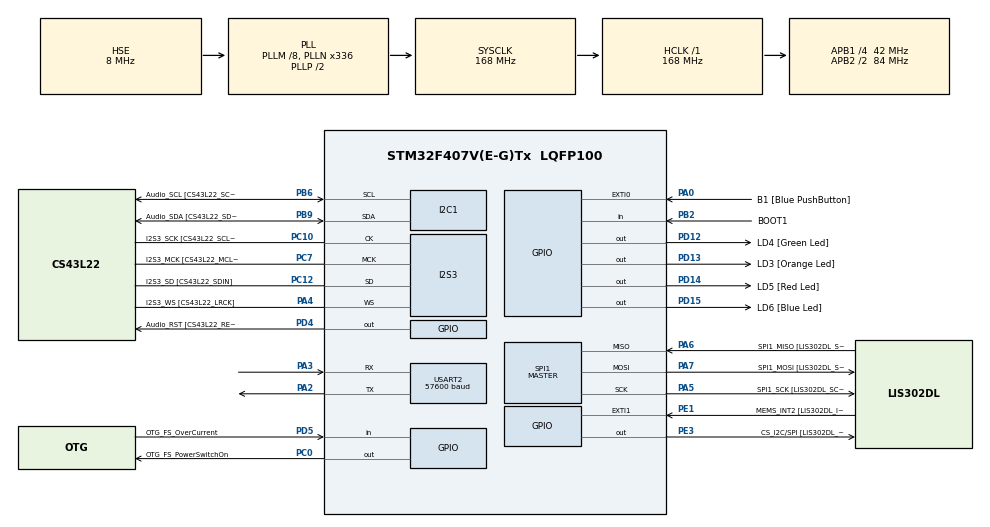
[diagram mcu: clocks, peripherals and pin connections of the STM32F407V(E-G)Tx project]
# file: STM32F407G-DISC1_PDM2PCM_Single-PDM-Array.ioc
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I2S3.AudioFreq-Half_Duplex_Master=I2S_AUDIOFREQ_96K
I2S3.ErrorAudioFreq=-2.34 %
I2S3.ErrorAudioFreq-Half_Duplex_Master=0.8 %
I2S3.FullDuplexMode=I2S_FULLDUPLEXMODE_DISABLE
I2S3.Instance=SPI$Index
I2S3.RealAudioFreq=93.75 KHz
I2S3.RealAudioFreq-Half_Duplex_Master=96.774 KHz
I2S3.VirtualMode=I2S_MODE_MASTER
Mcu.Family=STM32F4
Mcu.Name=STM32F407V(E-G)Tx
Mcu.Package=LQFP100
NVIC.PriorityGroup=NVIC_PRIORITYGROUP_0
PA0-WKUP.GPIO_Label=B1 [Blue PushButton]
PA0-WKUP.GPIO_ModeDefaultEXTI=GPIO_MODE_EVT_RISING
PA0-WKUP.GPIO_PuPd=GPIO_NOPULL
PA0-WKUP.Signal=GPXTI0
PA10.GPIO_Label=OTG_FS_ID
PA10.GPIO_Mode=GPIO_MODE_AF_PP
PA10.GPIO_PuPd=GPIO_NOPULL
PA10.GPIO_Speed=GPIO_SPEED_FREQ_LOW
PA10.Signal=USB_OTG_FS_ID
PA11.GPIO_Label=OTG_FS_DM
PA11.GPIO_Mode=GPIO_MODE_AF_PP
PA11.GPIO_PuPd=GPIO_NOPULL
PA11.GPIO_Speed=GPIO_SPEED_FREQ_LOW
PA11.Signal=USB_OTG_FS_DM
PA12.GPIO_Label=OTG_FS_DP
PA12.GPIO_Mode=GPIO_MODE_AF_PP
PA12.GPIO_PuPd=GPIO_NOPULL
PA12.GPIO_Speed=GPIO_SPEED_FREQ_LOW
PA12.Signal=USB_OTG_FS_DP
PA13.GPIO_Label=SWDIO
PA13.Mode=Serial_Wire
PA13.Signal=SYS_JTMS-SWDIO
PA14.GPIO_Label=SWCLK
PA14.Mode=Serial_Wire
PA14.Signal=SYS_JTCK-SWCLK
PA2.Mode=Asynchronous
PA2.Signal=USART2_TX
PA3.Mode=Asynchronous
PA3.Signal=USART2_RX
PA4.GPIO_Label=I2S3_WS [CS43L22_LRCK]
PA4.GPIO_Mode=GPIO_MODE_AF_PP
PA4.GPIO_PuPd=GPIO_NOPULL
PA4.GPIO_Speed=GPIO_SPEED_FREQ_LOW
PA4.Mode=Half_Duplex_Master
PA4.Signal=I2S3_WS
PA5.GPIO_Label=SPI1_SCK [LIS302DL_SCL/SPC]
PA5.GPIO_Mode=GPIO_MODE_AF_PP
PA5.GPIO_PuPd=GPIO_NOPULL
PA5.GPIO_Speed=GPIO_SPEED_FREQ_LOW
PA5.Mode=Full_Duplex_Master
PA5.Signal=SPI1_SCK
PA6.GPIO_Label=SPI1_MISO [LIS302DL_SDO]
PA6.GPIO_Mode=GPIO_MODE_AF_PP
PA6.GPIO_PuPd=GPIO_NOPULL
PA6.GPIO_Speed=GPIO_SPEED_FREQ_LOW
PA6.Mode=Full_Duplex_Master
PA6.Signal=SPI1_MISO
PA7.GPIO_Label=SPI1_MOSI [LIS302DL_SDA/SDI/SDO]
PA7.GPIO_Mode=GPIO_MODE_AF_PP
PA7.GPIO_PuPd=GPIO_NOPULL
PA7.GPIO_Speed=GPIO_SPEED_FREQ_LOW
PA7.Mode=Full_Duplex_Master
PA7.Signal=SPI1_MOSI
PA9.GPIO_Label=VBUS_FS
PA9.GPIO_Mode=GPIO_MODE_INPUT
PA9.GPIO_PuPd=GPIO_NOPULL
PA9.Signal=USB_OTG_FS_VBUS
PB10.GPIO_Label=CLK_IN [MP45DT02_CLK]
PB10.GPIO_Mode=GPIO_MODE_AF_PP
PB10.GPIO_PuPd=GPIO_NOPULL
PB10.GPIO_Speed=GPIO_SPEED_FREQ_LOW
PB10.Signal=I2S2_CK
PB2.GPIO_Label=BOOT1
PB2.GPIO_Mode=GPIO_MODE_INPUT
PB2.GPIO_PuPd=GPIO_NOPULL
PB2.Signal=GPIO_Input
PB3.GPIO_Label=SWO
PB3.Signal=SYS_JTDO-SWO
PB6.GPIO_Label=Audio_SCL [CS43L22_SCL]
PB6.GPIO_Mode=GPIO_MODE_AF_OD
PB6.GPIO_Pu=GPIO_PULLUP
PB6.GPIO_PuPd=GPIO_NOPULL
PB6.GPIO_Speed=GPIO_SPEED_FREQ_LOW
PB6.Mode=I2C
PB6.Signal=I2C1_SCL
PB9.GPIO_Label=Audio_SDA [CS43L22_SDA]
PB9.GPIO_Mode=GPIO_MODE_AF_OD
PB9.GPIO_Pu=GPIO_PULLUP
PB9.GPIO_PuPd=GPIO_NOPULL
PB9.GPIO_Speed=GPIO_SPEED_FREQ_LOW
PB9.Mode=I2C
PB9.Signal=I2C1_SDA
PC0.GPIO_Label=OTG_FS_PowerSwitchOn
PC0.GPIO_PuPd=GPIO_NOPULL
PC0.GPIO_Speed=GPIO_SPEED_FREQ_LOW
PC0.PinState=GPIO_PIN_SET
PC0.Signal=GPIO_Output
PC10.GPIO_Label=I2S3_SCK [CS43L22_SCLK]
PC10.GPIO_Mode=GPIO_MODE_AF_PP
PC10.GPIO_PuPd=GPIO_NOPULL
PC10.GPIO_Speed=GPIO_SPEED_FREQ_LOW
PC10.Mode=Half_Duplex_Master
PC10.Signal=I2S3_CK
PC12.GPIO_Label=I2S3_SD [CS43L22_SDIN]
PC12.GPIO_Mode=GPIO_MODE_AF_PP
PC12.GPIO_PuPd=GPIO_NOPULL
PC12.GPIO_Speed=GPIO_SPEED_FREQ_LOW
PC12.Mode=Half_Duplex_Master
PC12.Signal=I2S3_SD
PC3.GPIO_Label=PDM_OUT [MP45DT02_DOUT]
PC3.GPIO_Mode=GPIO_MODE_AF_PP
PC3.GPIO_PuPd=GPIO_NOPULL
PC3.GPIO_Speed=GPIO_SPEED_FREQ_LOW
PC3.Signal=I2S2_SD
PC7.GPIO_Label=I2S3_MCK [CS43L22_MCLK]
PC7.GPIO_Mode=GPIO_MODE_AF_PP
PC7.GPIO_PuPd=GPIO_NOPULL
PC7.GPIO_Speed=GPIO_SPEED_FREQ_LOW
PC7.Mode=Master_Clock_Activated
PC7.Signal=I2S3_MCK
PD12.GPIO_Label=LD4 [Green Led]
PD12.GPIO_PuPd=GPIO_NOPULL
PD12.GPIO_Speed=GPIO_SPEED_FREQ_LOW
PD12.Signal=GPIO_Output
PD13.GPIO_Label=LD3 [Orange Led]
PD13.GPIO_PuPd=GPIO_NOPULL
PD13.GPIO_Speed=GPIO_SPEED_FREQ_LOW
PD13.Signal=GPIO_Output
PD14.GPIO_Label=LD5 [Red Led]
PD14.GPIO_PuPd=GPIO_NOPULL
PD14.GPIO_Speed=GPIO_SPEED_FREQ_LOW
PD14.Signal=GPIO_Output
PD15.GPIO_Label=LD6 [Blue Led]
PD15.GPIO_PuPd=GPIO_NOPULL
PD15.GPIO_Speed=GPIO_SPEED_FREQ_LOW
PD15.Signal=GPIO_Output
PD4.GPIO_Label=Audio_RST [CS43L22_RESET]
PD4.GPIO_PuPd=GPIO_NOPULL
PD4.GPIO_Speed=GPIO_SPEED_FREQ_LOW
PD4.Signal=GPIO_Output
PD5.GPIO_Label=OTG_FS_OverCurrent
PD5.GPIO_Mode=GPIO_MODE_INPUT
PD5.GPIO_PuPd=GPIO_NOPULL
PD5.Signal=GPIO_Input
PDM2PCM.CHANNEL1_in_ptr_channels=1
PDM2PCM.CHANNEL1_out_ptr_channels=1
PDM2PCM.CHANNEL1_output_samples_number=500
PE1.GPIO_Label=MEMS_INT2 [LIS302DL_INT2]
PE1.GPIO_ModeDefaultEXTI=GPIO_MODE_EVT_RISING
PE1.GPIO_PuPd=GPIO_NOPULL
PE1.Signal=GPXTI1
PE3.GPIO_Label=CS_I2C/SPI [LIS302DL_CS_I2C/SPI]
PE3.GPIO_PuPd=GPIO_NOPULL
PE3.GPIO_Speed=GPIO_SPEED_FREQ_LOW
PE3.Signal=GPIO_Output
PH0-OSC_IN.GPIO_Label=PH0-OSC_IN
PH0-OSC_IN.Mode=HSE-External-Oscillator
PH0-OSC_IN.Signal=RCC_OSC_IN
PH1-OSC_OUT.GPIO_Label=PH1-OSC_OUT
PH1-OSC_OUT.Mode=HSE-External-Oscillator
PH1-OSC_OUT.Signal=RCC_OSC_OUT
ProjectManager.HeapSize=0x200
ProjectManager.StackSize=0x400
ProjectManager.TargetToolchain=STM32CubeIDE
RCC.48MHZClocksFreq_Value=48000000
RCC.AHBFreq_Value=168000000
RCC.APB1CLKDivider=RCC_HCLK_DIV4
RCC.APB1Freq_Value=42000000
RCC.APB1TimFreq_Value=84000000
RCC.APB2CLKDivider=RCC_HCLK_DIV2
RCC.APB2Freq_Value=84000000
RCC.APB2TimFreq_Value=168000000
RCC.CortexFreq_Value=168000000
RCC.HCLKFreq_Value=168000000
RCC.HSE_VALUE=8000000
RCC.HSI_VALUE=16000000
RCC.LSE_VALUE=32768
RCC.PLLM=8
RCC.PLLN=336
RCC.PLLQ=7
RCC.PLLSourceVirtual=RCC_PLLSOURCE_HSE
RCC.SYSCLKFreq_VALUE=168000000
RCC.SYSCLKSource=RCC_SYSCLKSOURCE_PLLCLK
RCC.VCOOutputFreq_Value=336000000
SPI1.BaudRatePrescaler-Full_Duplex_Master=SPI_BAUDRATEPRESCALER_2
SPI1.CalculateBaudRate-Full_Duplex_Master=42.0 MBits/s
SPI1.Direction=SPI_DIRECTION_2LINES
SPI1.Mode=SPI_MODE_MASTER
SPI1.Mode-Full_Duplex_Master=SPI_MODE_MASTER
SPI1.VirtualType=VM_MASTER
USART2.BaudRate=57600
USART2.VirtualMode=VM_ASYNC
VP_CRC_VS_CRC.Mode=CRC_Activate
VP_PDM2PCM_VS_PDM2PCM.Mode=PDM2PCM_Channel
board=STM32F407G-DISC1

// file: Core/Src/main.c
/* USER CODE BEGIN Header */
/**
 ******************************************************************************
 * @file           : main.c
 * @brief          : Main program body
 ******************************************************************************
 * @attention
 *
 * <h2><center>&copy; Copyright (c) 2021 STMicroelectronics.
 * All rights reserved.</center></h2>
 *
 * This software component is licensed by ST under Ultimate Liberty license
 * SLA0044, the "License"; You may not use this file except in compliance with
 * the License. You may obtain a copy of the License at:
 *                             www.st.com/SLA0044
 *
 ******************************************************************************
 */
/* USER CODE END Header */
#include "main.h"
#include "pdm2pcm.h"

/* USER CODE BEGIN Includes */

#include <stdio.h>
#include "pdm_tones.h"

/* USER CODE END Includes */

 CRC_HandleTypeDef hcrc;

I2C_HandleTypeDef hi2c1;

I2S_HandleTypeDef hi2s3;

SPI_HandleTypeDef hspi1;

UART_HandleTypeDef huart2;

/* USER CODE BEGIN PV */

int16_t PCM_outBuffer[1000];

/* USER CODE END PV */

void SystemClock_Config(void);
static void MX_GPIO_Init(void);
static void MX_I2C1_Init(void);
static void MX_I2S3_Init(void);
static void MX_SPI1_Init(void);
static void MX_USART2_UART_Init(void);
static void MX_CRC_Init(void);
/* USER CODE BEGIN PFP */

#define PUTCHAR_PROTOTYPE int __io_putchar(int ch)

/* USER CODE END PFP */

int main(void)
{

  /* MCU Configuration--------------------------------------------------------*/

  /* Reset of all peripherals, Initializes the Flash interface and the Systick. */
  HAL_Init();

  /* Configure the system clock */
  SystemClock_Config();

  /* Initialize all configured peripherals */
  MX_GPIO_Init();
  MX_I2C1_Init();
  MX_I2S3_Init();
  MX_SPI1_Init();
  MX_USART2_UART_Init();
  MX_CRC_Init();
  MX_PDM2PCM_Init();
  /* USER CODE BEGIN 2 */

	printf("Starting >> STM32F407G-DISC1_PDM2PCM_Single-PDM-Array  \n");

	// first bit to MSB - 8bit tone "AA"
	for(uint16_t i = 0; i < sizeof(tone500HzA4_pdmdata) * 4; i++)
	{
		pdmBuffer8_8000bits_1000bytes_1[i >> 3] = 0x55;
		//		printf("i = %d,  i >>3 = %d, i mod sizeof(tone500HzA4_pdmdata) = %d \n",i, i >>3, i % sizeof(tone500HzA4_pdmdata));
	}

	// first bit to MSB - 8bit tone500Hz_pdmdata
	for(uint16_t i = 0; i < sizeof(tone500Hz_pdmdata) * 4; i++)
	{
		pdmBuffer8_8000bits_1000bytes_2[i >> 3] = (pdmBuffer8_8000bits_1000bytes_2[i >> 3] << 1) + tone500Hz_pdmdata[i % sizeof(tone500Hz_pdmdata)];
		//		printf("i = %d,  i >>3 = %d, i mod sizeof(tone500Hz_pdmdata) = %d \n",i, i >>3, i % sizeof(tone500Hz_pdmdata));
	}

	// first bit to MSB - 8bit tone500HzA4_pdmdata
	for(uint16_t i = 0; i < sizeof(tone500HzA4_pdmdata) * 4; i++)
	{
		pdmBuffer8_8000bits_1000bytes_3[i >> 3] = (pdmBuffer8_8000bits_1000bytes_3[i >> 3] << 1) + tone500HzA4_pdmdata[i % sizeof(tone500HzA4_pdmdata)];
		//		printf("i = %d,  i >>3 = %d, i mod sizeof(tone500HzA4_pdmdata) = %d \n",i, i >>3, i % sizeof(tone500HzA4_pdmdata));
	}

	for(uint16_t i = 0; i < 1000; i++)
	{
		pdmBuffer8_8000bits_4000bytes[i] = pdmBuffer8_8000bits_1000bytes_1[i];
	}

	for(uint16_t i = 0; i < 1000; i++)
	{
		pdmBuffer8_8000bits_4000bytes[i + 1000] = pdmBuffer8_8000bits_1000bytes_2[i];
	}

	for(uint16_t i = 0; i < 1000; i++)
	{
		pdmBuffer8_8000bits_4000bytes[i + 2000] = pdmBuffer8_8000bits_1000bytes_1[i];
	}

	for(uint16_t i = 0; i < 1000; i++)
	{
		pdmBuffer8_8000bits_4000bytes[i + 3000] = pdmBuffer8_8000bits_1000bytes_3[i];
	}

	//	printf("pdmBuffer8_8000bits_1000bytes_2 first bit to MSB\n");
	//	for (uint16_t Index = 0; Index < sizeof(pdmBuffer8_8000bits_1000bytes_2); Index++)
	//	{
	//		printf("%d %d\n",Index, pdmBuffer8_8000bits_1000bytes_2[Index]);
	//	}

	// single 500 PCM data of results ; 4000 bytes x 8bit/byte / 64 decimation = 32k bits / 64 decimation = 500 PCM data
	GPIOD->BSRR = (1<<15); // Set
	PDM_Filter(&pdmBuffer8_8000bits_4000bytes[0],&PCM_outBuffer[0], &PDM1_filter_handler);
	GPIOD->BSRR  = (1<< (15 + 16) ); // Reset

	//	PDM_Filter(&pdmBuffer8_8000bits_1000bytes_3[0],&PCM_outBuffer[0], &PDM1_filter_handler);

	printf("PCM_outBuffer \n");
	for (uint16_t Index = 0; Index < 500; Index++)
	{
		printf("%d %d\n",Index, PCM_outBuffer[Index]);
	}

	printf("Ending   >> STM32F407G-DISC1_PDM2PCM_Single-PDM-Array  \n");

  /* USER CODE END 2 */

  /* Infinite loop */
  /* USER CODE BEGIN WHILE */
	while (1)
	{
		HAL_GPIO_TogglePin(GPIOD, GPIO_PIN_12);
		//	  HAL_GPIO_TogglePin(GPIOD, GPIO_PIN_13);
		//	  HAL_GPIO_TogglePin(GPIOD, GPIO_PIN_14);
		//	  HAL_GPIO_TogglePin(GPIOD, GPIO_PIN_15);
		HAL_Delay(100);
    /* USER CODE END WHILE */

	}
}

void SystemClock_Config(void)
{
  RCC_OscInitTypeDef RCC_OscInitStruct = {0};
  RCC_ClkInitTypeDef RCC_ClkInitStruct = {0};

  /** Configure the main internal regulator output voltage
  */
  __HAL_RCC_PWR_CLK_ENABLE();
  __HAL_PWR_VOLTAGESCALING_CONFIG(PWR_REGULATOR_VOLTAGE_SCALE1);

  /** Initializes the RCC Oscillators according to the specified parameters
  * in the RCC_OscInitTypeDef structure.
  */
  RCC_OscInitStruct.OscillatorType = RCC_OSCILLATORTYPE_HSE;
  RCC_OscInitStruct.HSEState = RCC_HSE_ON;
  RCC_OscInitStruct.PLL.PLLState = RCC_PLL_ON;
  RCC_OscInitStruct.PLL.PLLSource = RCC_PLLSOURCE_HSE;
  RCC_OscInitStruct.PLL.PLLM = 8;
  RCC_OscInitStruct.PLL.PLLN = 336;
  RCC_OscInitStruct.PLL.PLLP = RCC_PLLP_DIV2;
  RCC_OscInitStruct.PLL.PLLQ = 7;
  if (HAL_RCC_OscConfig(&RCC_OscInitStruct) != HAL_OK)
  {
    Error_Handler();
  }

  /** Initializes the CPU, AHB and APB buses clocks
  */
  RCC_ClkInitStruct.ClockType = RCC_CLOCKTYPE_HCLK|RCC_CLOCKTYPE_SYSCLK
                              |RCC_CLOCKTYPE_PCLK1|RCC_CLOCKTYPE_PCLK2;
  RCC_ClkInitStruct.SYSCLKSource = RCC_SYSCLKSOURCE_PLLCLK;
  RCC_ClkInitStruct.AHBCLKDivider = RCC_SYSCLK_DIV1;
  RCC_ClkInitStruct.APB1CLKDivider = RCC_HCLK_DIV4;
  RCC_ClkInitStruct.APB2CLKDivider = RCC_HCLK_DIV2;

  if (HAL_RCC_ClockConfig(&RCC_ClkInitStruct, FLASH_LATENCY_5) != HAL_OK)
  {
    Error_Handler();
  }
}

static void MX_CRC_Init(void)
{

  hcrc.Instance = CRC;
  if (HAL_CRC_Init(&hcrc) != HAL_OK)
  {
    Error_Handler();
  }
  __HAL_CRC_DR_RESET(&hcrc);

}

static void MX_I2C1_Init(void)
{

  hi2c1.Instance = I2C1;
  hi2c1.Init.ClockSpeed = 100000;
  hi2c1.Init.DutyCycle = I2C_DUTYCYCLE_2;
  hi2c1.Init.OwnAddress1 = 0;
  hi2c1.Init.AddressingMode = I2C_ADDRESSINGMODE_7BIT;
  hi2c1.Init.DualAddressMode = I2C_DUALADDRESS_DISABLE;
  hi2c1.Init.OwnAddress2 = 0;
  hi2c1.Init.GeneralCallMode = I2C_GENERALCALL_DISABLE;
  hi2c1.Init.NoStretchMode = I2C_NOSTRETCH_DISABLE;
  if (HAL_I2C_Init(&hi2c1) != HAL_OK)
  {
    Error_Handler();
  }

}

static void MX_I2S3_Init(void)
{

  hi2s3.Instance = SPI3;
  hi2s3.Init.Mode = I2S_MODE_MASTER_TX;
  hi2s3.Init.Standard = I2S_STANDARD_PHILIPS;
  hi2s3.Init.DataFormat = I2S_DATAFORMAT_16B;
  hi2s3.Init.MCLKOutput = I2S_MCLKOUTPUT_ENABLE;
  hi2s3.Init.AudioFreq = I2S_AUDIOFREQ_96K;
  hi2s3.Init.CPOL = I2S_CPOL_LOW;
  hi2s3.Init.ClockSource = I2S_CLOCK_PLL;
  hi2s3.Init.FullDuplexMode = I2S_FULLDUPLEXMODE_DISABLE;
  if (HAL_I2S_Init(&hi2s3) != HAL_OK)
  {
    Error_Handler();
  }

}

static void MX_SPI1_Init(void)
{

  /* SPI1 parameter configuration*/
  hspi1.Instance = SPI1;
  hspi1.Init.Mode = SPI_MODE_MASTER;
  hspi1.Init.Direction = SPI_DIRECTION_2LINES;
  hspi1.Init.DataSize = SPI_DATASIZE_8BIT;
  hspi1.Init.CLKPolarity = SPI_POLARITY_LOW;
  hspi1.Init.CLKPhase = SPI_PHASE_1EDGE;
  hspi1.Init.NSS = SPI_NSS_SOFT;
  hspi1.Init.BaudRatePrescaler = SPI_BAUDRATEPRESCALER_2;
  hspi1.Init.FirstBit = SPI_FIRSTBIT_MSB;
  hspi1.Init.TIMode = SPI_TIMODE_DISABLE;
  hspi1.Init.CRCCalculation = SPI_CRCCALCULATION_DISABLE;
  hspi1.Init.CRCPolynomial = 10;
  if (HAL_SPI_Init(&hspi1) != HAL_OK)
  {
    Error_Handler();
  }

}

static void MX_USART2_UART_Init(void)
{

  huart2.Instance = USART2;
  huart2.Init.BaudRate = 57600;
  huart2.Init.WordLength = UART_WORDLENGTH_8B;
  huart2.Init.StopBits = UART_STOPBITS_1;
  huart2.Init.Parity = UART_PARITY_NONE;
  huart2.Init.Mode = UART_MODE_TX_RX;
  huart2.Init.HwFlowCtl = UART_HWCONTROL_NONE;
  huart2.Init.OverSampling = UART_OVERSAMPLING_16;
  if (HAL_UART_Init(&huart2) != HAL_OK)
  {
    Error_Handler();
  }

}

static void MX_GPIO_Init(void)
{
  GPIO_InitTypeDef GPIO_InitStruct = {0};

  /* GPIO Ports Clock Enable */
  __HAL_RCC_GPIOE_CLK_ENABLE();
  __HAL_RCC_GPIOH_CLK_ENABLE();
  __HAL_RCC_GPIOC_CLK_ENABLE();
  __HAL_RCC_GPIOA_CLK_ENABLE();
  __HAL_RCC_GPIOB_CLK_ENABLE();
  __HAL_RCC_GPIOD_CLK_ENABLE();

  /*Configure GPIO pin Output Level */
  HAL_GPIO_WritePin(CS_I2C_SPI_GPIO_Port, CS_I2C_SPI_Pin, GPIO_PIN_RESET);

  /*Configure GPIO pin Output Level */
  HAL_GPIO_WritePin(OTG_FS_PowerSwitchOn_GPIO_Port, OTG_FS_PowerSwitchOn_Pin, GPIO_PIN_SET);

  /*Configure GPIO pin Output Level */
  HAL_GPIO_WritePin(GPIOD, LD4_Pin|LD3_Pin|LD5_Pin|LD6_Pin
                          |Audio_RST_Pin, GPIO_PIN_RESET);

  /*Configure GPIO pin : CS_I2C_SPI_Pin */
  GPIO_InitStruct.Pin = CS_I2C_SPI_Pin;
  GPIO_InitStruct.Mode = GPIO_MODE_OUTPUT_PP;
  GPIO_InitStruct.Pull = GPIO_NOPULL;
  GPIO_InitStruct.Speed = GPIO_SPEED_FREQ_LOW;
  HAL_GPIO_Init(CS_I2C_SPI_GPIO_Port, &GPIO_InitStruct);

  /*Configure GPIO pin : OTG_FS_PowerSwitchOn_Pin */
  GPIO_InitStruct.Pin = OTG_FS_PowerSwitchOn_Pin;
  GPIO_InitStruct.Mode = GPIO_MODE_OUTPUT_PP;
  GPIO_InitStruct.Pull = GPIO_NOPULL;
  GPIO_InitStruct.Speed = GPIO_SPEED_FREQ_LOW;
  HAL_GPIO_Init(OTG_FS_PowerSwitchOn_GPIO_Port, &GPIO_InitStruct);

  /*Configure GPIO pin : PDM_OUT_Pin */
  GPIO_InitStruct.Pin = PDM_OUT_Pin;
  GPIO_InitStruct.Mode = GPIO_MODE_AF_PP;
  GPIO_InitStruct.Pull = GPIO_NOPULL;
  GPIO_InitStruct.Speed = GPIO_SPEED_FREQ_LOW;
  GPIO_InitStruct.Alternate = GPIO_AF5_SPI2;
  HAL_GPIO_Init(PDM_OUT_GPIO_Port, &GPIO_InitStruct);

  /*Configure GPIO pin : B1_Pin */
  GPIO_InitStruct.Pin = B1_Pin;
  GPIO_InitStruct.Mode = GPIO_MODE_EVT_RISING;
  GPIO_InitStruct.Pull = GPIO_NOPULL;
  HAL_GPIO_Init(B1_GPIO_Port, &GPIO_InitStruct);

  /*Configure GPIO pin : BOOT1_Pin */
  GPIO_InitStruct.Pin = BOOT1_Pin;
  GPIO_InitStruct.Mode = GPIO_MODE_INPUT;
  GPIO_InitStruct.Pull = GPIO_NOPULL;
  HAL_GPIO_Init(BOOT1_GPIO_Port, &GPIO_InitStruct);

  /*Configure GPIO pin : CLK_IN_Pin */
  GPIO_InitStruct.Pin = CLK_IN_Pin;
  GPIO_InitStruct.Mode = GPIO_MODE_AF_PP;
  GPIO_InitStruct.Pull = GPIO_NOPULL;
  GPIO_InitStruct.Speed = GPIO_SPEED_FREQ_LOW;
  GPIO_InitStruct.Alternate = GPIO_AF5_SPI2;
  HAL_GPIO_Init(CLK_IN_GPIO_Port, &GPIO_InitStruct);

  /*Configure GPIO pins : LD4_Pin LD3_Pin LD5_Pin LD6_Pin
                           Audio_RST_Pin */
  GPIO_InitStruct.Pin = LD4_Pin|LD3_Pin|LD5_Pin|LD6_Pin
                          |Audio_RST_Pin;
  GPIO_InitStruct.Mode = GPIO_MODE_OUTPUT_PP;
  GPIO_InitStruct.Pull = GPIO_NOPULL;
  GPIO_InitStruct.Speed = GPIO_SPEED_FREQ_LOW;
  HAL_GPIO_Init(GPIOD, &GPIO_InitStruct);

  /*Configure GPIO pin : VBUS_FS_Pin */
  GPIO_InitStruct.Pin = VBUS_FS_Pin;
  GPIO_InitStruct.Mode = GPIO_MODE_INPUT;
  GPIO_InitStruct.Pull = GPIO_NOPULL;
  HAL_GPIO_Init(VBUS_FS_GPIO_Port, &GPIO_InitStruct);

  /*Configure GPIO pins : OTG_FS_ID_Pin OTG_FS_DM_Pin OTG_FS_DP_Pin */
  GPIO_InitStruct.Pin = OTG_FS_ID_Pin|OTG_FS_DM_Pin|OTG_FS_DP_Pin;
  GPIO_InitStruct.Mode = GPIO_MODE_AF_PP;
  GPIO_InitStruct.Pull = GPIO_NOPULL;
  GPIO_InitStruct.Speed = GPIO_SPEED_FREQ_LOW;
  GPIO_InitStruct.Alternate = GPIO_AF10_OTG_FS;
  HAL_GPIO_Init(GPIOA, &GPIO_InitStruct);

  /*Configure GPIO pin : OTG_FS_OverCurrent_Pin */
  GPIO_InitStruct.Pin = OTG_FS_OverCurrent_Pin;
  GPIO_InitStruct.Mode = GPIO_MODE_INPUT;
  GPIO_InitStruct.Pull = GPIO_NOPULL;
  HAL_GPIO_Init(OTG_FS_OverCurrent_GPIO_Port, &GPIO_InitStruct);

  /*Configure GPIO pin : MEMS_INT2_Pin */
  GPIO_InitStruct.Pin = MEMS_INT2_Pin;
  GPIO_InitStruct.Mode = GPIO_MODE_EVT_RISING;
  GPIO_InitStruct.Pull = GPIO_NOPULL;
  HAL_GPIO_Init(MEMS_INT2_GPIO_Port, &GPIO_InitStruct);

}

/* USER CODE BEGIN 4 */

PUTCHAR_PROTOTYPE
{
	/* Place your implementation of fputc here */
	/* e.g. write a character to the LPUART1 and Loop until the end of transmission */
	HAL_UART_Transmit(&huart2, (uint8_t *)&ch, 1, 0xFFFF);

	return ch;
}

/* USER CODE END 4 */

void Error_Handler(void)
{
	__disable_irq();
	while (1)
	{
	}
}
